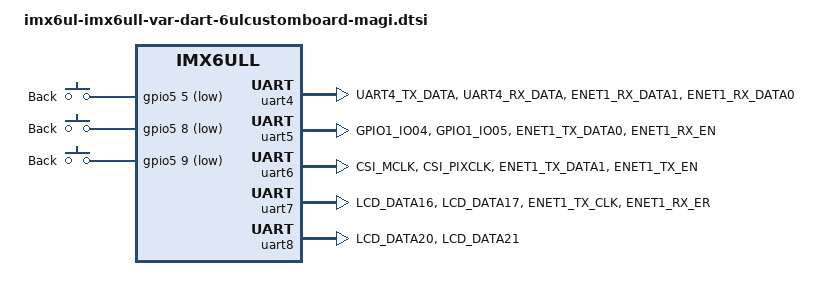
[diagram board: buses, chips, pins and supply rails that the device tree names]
/*
 * Copyright (C) 2015-2019 Variscite Ltd. - https://www.variscite.com
 *
 * This program is free software; you can redistribute it and/or modify
 * it under the terms of the GNU General Public License version 2 as
 * published by the Free Software Foundation.
 */

#include "imx6ull.dtsi"

#include "imx6ull-var-dart.dtsi"
#include "imx6ul-imx6ull-var-dart-emmc.dtsi"

#include "imx6ull-var-dart-6ulcustomboard.dtsi"
#include "imx6ul-imx6ull-var-dart-6ulcustomboard-sd-card.dtsi"

/* disable ethernet, pins required for uart4/5 */
&fec1 {
	status = "disabled";
};

/* disable LCD, pins required for uart4 */
&i2c1 {
	status = "disabled";
};

/* disable LCD, pins required for uart8 */
&lcdif {
	status = "disabled";
};

&iomuxc {

    pinctrl_uart4: uart4grp {
		fsl,pins = <
			MX6UL_PAD_UART4_TX_DATA__UART4_DCE_TX   0x1b0b1
			MX6UL_PAD_UART4_RX_DATA__UART4_DCE_RX	0x1b0b1
			MX6UL_PAD_ENET1_RX_DATA1__UART4_DCE_CTS	0x1b0b1
			MX6UL_PAD_ENET1_RX_DATA0__UART4_DCE_RTS	0x1b0b1
		>;
	};

    pinctrl_uart5: uart5grp {
		fsl,pins = <
			MX6UL_PAD_GPIO1_IO04__UART5_DCE_TX      0x1b0b1
			MX6UL_PAD_GPIO1_IO05__UART5_DCE_RX	    0x1b0b1
			MX6UL_PAD_ENET1_TX_DATA0__UART5_DCE_CTS	0x1b0b1
			MX6UL_PAD_ENET1_RX_EN__UART5_DCE_RTS	0x1b0b1
		>;
	};

    pinctrl_uart6: uart6grp {
		fsl,pins = <
			MX6UL_PAD_CSI_MCLK__UART6_DCE_TX        0x1b0b1
			MX6UL_PAD_CSI_PIXCLK__UART6_DCE_RX	    0x1b0b1
			MX6UL_PAD_ENET1_TX_DATA1__UART6_DCE_CTS	0x1b0b1
			MX6UL_PAD_ENET1_TX_EN__UART6_DCE_RTS	0x1b0b1
		>;
	};

    pinctrl_uart7: uart7grp {
		fsl,pins = <
			MX6UL_PAD_LCD_DATA16__UART7_DCE_TX      0x1b0b1
			MX6UL_PAD_LCD_DATA17__UART7_DCE_RX	    0x1b0b1
			MX6UL_PAD_ENET1_TX_CLK__UART7_DCE_CTS	0x1b0b1
			MX6UL_PAD_ENET1_RX_ER__UART7_DCE_RTS	0x1b0b1
		>;
	};

    pinctrl_uart8: uart8grp {
		fsl,pins = <
			MX6UL_PAD_LCD_DATA20__UART8_DCE_TX      0x1b0b1
			MX6UL_PAD_LCD_DATA21__UART8_DCE_RX	    0x1b0b1
		>;
	};

    pinctrl_wake_pins: gpio_wakepinsgrp {
		fsl,pins = <
            MX6UL_PAD_SNVS_TAMPER5__GPIO5_IO05      0x1b0b0 
            MX6UL_PAD_SNVS_TAMPER8__GPIO5_IO08      0x1b0b0
            MX6UL_PAD_SNVS_TAMPER9__GPIO5_IO09      0x1b0b0
		>;
	};
};

/* ttymxc3 UART */
&uart4 {
	pinctrl-names = "default";
	pinctrl-0 = <&pinctrl_uart4>;
	fsl,uart-has-rtscts;
	status = "okay";
};

/* ttymxc4 UART */
&uart5 {
	pinctrl-names = "default";
	pinctrl-0 = <&pinctrl_uart5>;
	fsl,uart-has-rtscts;
	status = "okay";
};

/* ttymxc5 UART */
&uart6 {
	pinctrl-names = "default";
	pinctrl-0 = <&pinctrl_uart6>;
	fsl,uart-has-rtscts;
	status = "okay";
};

/* ttymxc6 UART */
&uart7 {
	pinctrl-names = "default";
	pinctrl-0 = <&pinctrl_uart7>;
	fsl,uart-has-rtscts;
	status = "okay";
};

/* ttymxc7 UART */
&uart8 {
	pinctrl-names = "default";
	pinctrl-0 = <&pinctrl_uart8>;
	status = "okay";
};

/ {
	wakepins {
		compatible = "gpio-keys";
		pinctrl-names = "default";
		pinctrl-0 = <&pinctrl_wake_pins>;

        gpio5_io5 {
			label = "Back";
			gpios = <&gpio5 5 GPIO_ACTIVE_LOW>;
			linux,code = <5>;
			gpio-key,wakeup;
		};

        gpio5_io8 {
			label = "Back";
			gpios = <&gpio5 8 GPIO_ACTIVE_LOW>;
			linux,code = <8>;
			gpio-key,wakeup;
		};

        gpio5_io9 {
			label = "Back";
			gpios = <&gpio5 9 GPIO_ACTIVE_LOW>;
			linux,code = <9>;
			gpio-key,wakeup;
		};
	};
};
